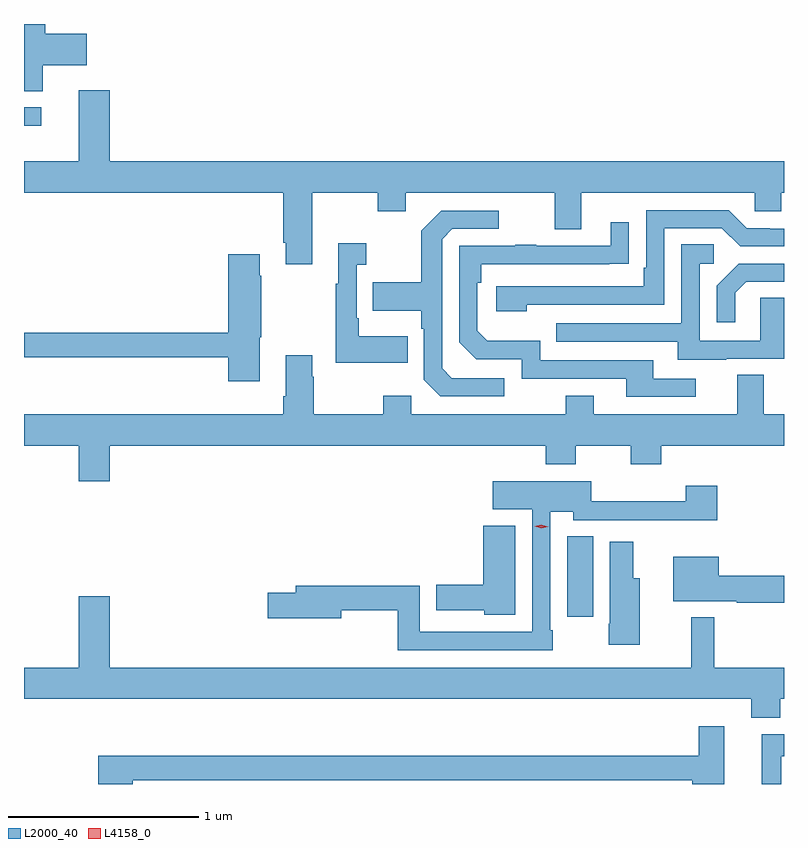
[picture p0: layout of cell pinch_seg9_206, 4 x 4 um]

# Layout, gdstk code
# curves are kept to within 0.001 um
import gdstk
lib = gdstk.Library(unit=1e-6, precision=1e-09)
def R(c, l, rs):  # rectangles x0, y0, x1, y1
    for r in rs: c.add(gdstk.rectangle(r[:2], r[2:], *l))
def P(c, l, *ps):  # polygons
    for p in ps: c.add(gdstk.Polygon(p, *l))
L2000_40 = (2000, 40)
L4158_0 = (4158, 0)

pinch_seg9_206 = lib.new_cell('pinch_seg9_206')
R(pinch_seg9_206, L2000_40, [(623.123,1215.498,623.26,1215.923), (620.264,1218.084,620.356,1218.18)])
P(pinch_seg9_206, L2000_40, [(620.362,1218.401),(620.593,1218.401),(620.593,1218.567),(620.375,1218.567),(620.375,1218.619),(620.264,1218.619),(620.264,1218.265),(620.362,1218.265)],
  [(621.781,1217.732),(622.126,1217.732),(622.126,1217.633),(622.273,1217.633),(622.273,1217.732),(623.057,1217.732),(623.057,1217.538),(623.197,1217.538),(623.197,1217.732),(624.111,1217.732),(624.111,1217.634),(624.249,1217.634),(624.249,1217.732),(624.264,1217.732),(624.264,1217.896),(620.716,1217.896),(620.716,1218.271),(620.552,1218.271),(620.552,1217.896),(620.264,1217.896),(620.264,1217.732),(621.629,1217.732),(621.629,1217.467),(621.641,1217.467),(621.641,1217.355),(621.781,1217.355)],
  [(622.91,1217.142),(623.634,1217.142),(623.634,1217.544),(623.937,1217.544),(624.033,1217.448),(624.264,1217.448),(624.264,1217.541),(624.188,1217.541),(624.188,1217.544),(624.069,1217.544),(623.973,1217.64),(623.538,1217.64),(623.538,1217.335),(623.525,1217.335),(623.525,1217.238),(622.749,1217.238),(622.749,1217.108),(622.91,1217.108)],
  [(622.792,1216.755),(622.515,1216.755),(622.464,1216.806),(622.464,1217.487),(622.518,1217.541),(622.762,1217.541),(622.762,1217.637),(622.461,1217.637),(622.356,1217.531),(622.356,1217.259),(622.099,1217.259),(622.099,1217.111),(622.356,1217.111),(622.356,1217.015),(622.368,1217.015),(622.368,1216.746),(622.455,1216.659),(622.792,1216.659)],
  [(623.8,1216.752),(623.575,1216.752),(623.575,1216.848),(622.98,1216.848),(622.98,1216.951),(622.703,1216.951),(622.65,1217.004),(622.65,1217.258),(622.67,1217.258),(622.67,1217.355),(623.447,1217.356),(623.447,1217.575),(623.351,1217.575),(623.351,1217.451),(622.961,1217.451),(622.961,1217.456),(622.849,1217.456),(622.849,1217.451),(622.554,1217.451),(622.554,1216.944),(622.644,1216.854),(622.884,1216.854),(622.884,1216.752),(623.435,1216.752),(623.435,1216.656),(623.8,1216.656)],
  [(622.283,1216.975),(622.027,1216.975),(622.027,1217.071),(622.014,1217.071),(622.014,1217.351),(622.066,1217.351),(622.066,1217.464),(621.917,1217.464),(621.917,1217.251),(621.906,1217.251),(621.906,1216.835),(622.283,1216.835)],
  [(623.959,1216.857),(624.264,1216.857),(624.264,1217.177),(624.138,1217.177),(624.138,1216.953),(623.82,1216.953),(623.82,1217.358),(623.893,1217.358),(623.893,1217.459),(623.724,1217.459),(623.724,1217.043),(623.065,1217.043),(623.065,1216.947),(623.705,1216.947),(623.705,1216.853),(623.959,1216.853)],
  [(621.505,1216.971),(621.513,1216.971),(621.513,1217.294),(621.505,1217.294),(621.505,1217.407),(621.338,1217.407),(621.338,1216.994),(620.264,1216.994),(620.264,1216.866),(621.338,1216.866),(621.338,1216.74),(621.505,1216.74)],
  [(624.007,1217.205),(624.064,1217.262),(624.264,1217.262),(624.264,1217.358),(624.026,1217.358),(623.91,1217.242),(623.91,1217.049),(624.007,1217.049)],
  [(620.716,1216.4),(623.009,1216.4),(623.009,1216.301),(623.169,1216.301),(623.169,1216.4),(623.458,1216.4),(623.458,1216.301),(623.618,1216.301),(623.618,1216.4),(624.264,1216.4),(624.264,1216.564),(624.157,1216.564),(624.157,1216.772),(624.017,1216.772),(624.017,1216.564),(623.263,1216.564),(623.263,1216.663),(623.116,1216.663),(623.116,1216.564),(622.302,1216.564),(622.302,1216.663),(622.156,1216.663),(622.156,1216.564),(621.789,1216.564),(621.789,1216.763),(621.781,1216.763),(621.781,1216.876),(621.641,1216.876),(621.641,1216.66),(621.629,1216.66),(621.629,1216.564),(620.264,1216.564),(620.264,1216.4),(620.552,1216.4),(620.552,1216.212),(620.716,1216.212)],
  [(623.047,1215.427),(623.034,1215.427),(623.034,1216.052),(623.154,1216.052),(623.154,1216.008),(623.663,1216.008),(623.663,1216.007),(623.912,1216.007),(623.912,1216.189),(623.747,1216.189),(623.747,1216.106),(623.25,1216.106),(623.25,1216.213),(622.731,1216.213),(622.731,1216.064),(622.938,1216.064),(622.938,1215.42),(622.347,1215.42),(622.347,1215.662),(621.695,1215.662),(621.695,1215.626),(621.546,1215.626),(621.546,1215.491),(621.934,1215.491),(621.934,1215.534),(622.231,1215.534),(622.231,1215.324),(623.047,1215.324)],
  [(622.849,1215.979),(622.682,1215.979),(622.682,1215.668),(622.434,1215.668),(622.434,1215.533),(622.686,1215.533),(622.686,1215.509),(622.849,1215.509)],
  [(623.506,1215.703),(623.47,1215.703),(623.47,1215.895),(623.348,1215.895),(623.348,1215.463),(623.341,1215.463),(623.341,1215.351),(623.506,1215.351)],
  [(624.264,1215.716),(623.92,1215.716),(623.92,1215.814),(623.681,1215.814),(623.681,1215.581),(624.016,1215.581),(624.016,1215.574),(624.264,1215.574)],
  [(624.244,1215.068),(624.264,1215.068),(624.264,1215.232),(623.896,1215.232),(623.896,1215.496),(623.776,1215.496),(623.776,1215.232),(620.716,1215.232),(620.716,1215.607),(620.552,1215.607),(620.552,1215.232),(620.264,1215.232),(620.264,1215.068),(624.092,1215.068),(624.092,1214.969),(624.244,1214.969)],
  [(620.837,1214.638),(623.78,1214.638),(623.78,1214.619),(623.95,1214.619),(623.95,1214.923),(623.816,1214.923),(623.816,1214.767),(620.654,1214.767),(620.654,1214.619),(620.837,1214.619)],
  [(624.25,1214.764),(624.264,1214.764),(624.264,1214.88),(624.146,1214.88),(624.146,1214.619),(624.25,1214.619)])
P(pinch_seg9_206, L4158_0, [(622.987,1215.964),(622.952,1215.976),(622.952,1215.976),(622.952,1215.976),(622.987,1215.984),(623.022,1215.973),(623.022,1215.973),(623.022,1215.973)])

lib.write_gds('pinch_seg9_206.gds')
